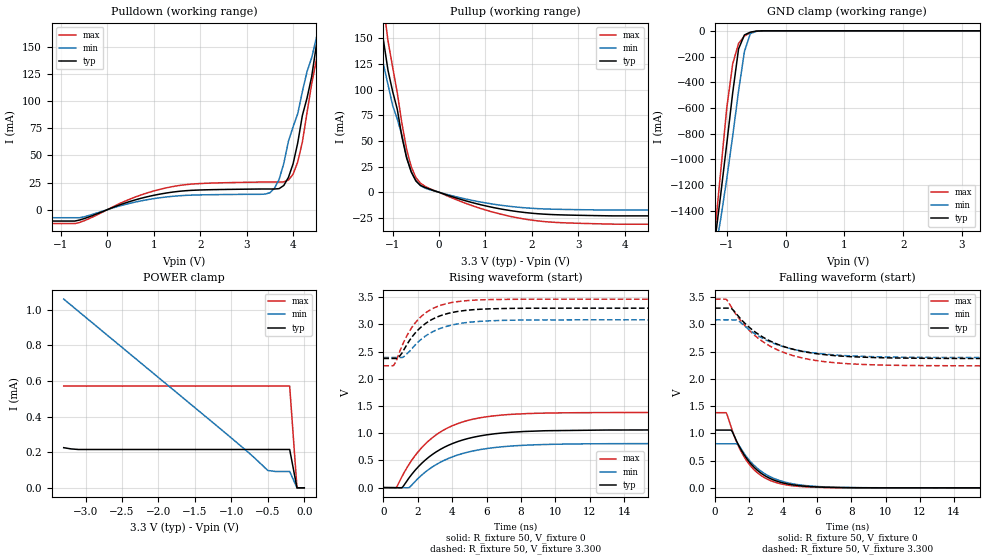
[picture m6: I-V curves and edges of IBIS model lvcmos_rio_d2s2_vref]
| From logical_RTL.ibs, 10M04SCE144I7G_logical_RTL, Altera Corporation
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|MODEL lvcmos_rio_d2s2_vref
[Model]   lvcmos_rio_d2s2_vref
Model_type   I/O
Polarity   Non-Inverting
Enable Active-Low
Vinl   = 0.800
Vinh   = 1.700
Vmeas  = 1.650
Rref   = 10M
Cref   = 0pF
Vref   = 0.000
C_comp 4.5pF   4.5pF   4.5pF
[Model Spec]
Vinh   1.700   1.700   1.700
Vinl   0.800   0.800   0.800
[Temperature Range]   25   100   -40
[Voltage Range]   3.300   3.085   3.465
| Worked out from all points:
|   slope of the pulldown table from 0 to 0.495 V, typ, clamps not added: 64.6 ohm
|   slope of the pullup table from 0 to 0.495 V, typ, clamps not added: 68.1 ohm
|   GND clamp passes 1 mA (typ) near -0.44 V on its own axis
|   rising waveform, R_fixture 50, V_fixture 0: 20-80 % time 2.77ns typ, 2.86ns min, 2.58ns max; typ from 0 V to 1.06 V
|   falling waveform, R_fixture 50, V_fixture 0: 20-80 % time 1.7ns typ, 1.87ns min, 1.54ns max; typ from 1.06 V to 0 V
|   rising waveform, R_fixture 50, V_fixture 3.300: 20-80 % time 1.73ns typ, 1.9ns min, 1.56ns max; typ from 2.37 V to 3.3 V
|   falling waveform, R_fixture 50, V_fixture 3.300: 20-80 % time 2.94ns typ, 2.97ns min, 2.88ns max; typ from 3.3 V to 2.37 V
[GND Clamp]
| voltage   I (typ)   I (min)   I (max)
-3.3V     -8.634A    -7.641A    -10.53A
-1.2V     -1.626A    -1.726A    -1.552A
-1.1V     -1.26A     -1.452A    -1.075A
-1V       -875.9mA   -1.149A    -598.7mA
-900mV    -483.9mA   -819.2mA   -258.1mA
-800mV    -141.1mA   -469.2mA   -98.68mA
-700mV    -32.06mA   -161mA     -39.97mA
-600mV    -10.6mA    -22.19mA   -15.19mA
-500mV    -2.181mA   -3.852mA   -3.947mA
3.3V      0A         0A         0A
[Pulldown]
| voltage   I (typ)   I (min)   I (max)
-3.3V     -10.53mA   -7.475mA   -12.85mA
-700mV    -10.53mA   -7.475mA   -12.85mA
1.3V      15.54mA    11.84mA    20.38mA
3.5V      19.04mA    15.58mA    25.5mA
3.7V      19.39mA    28mA       25.5mA
3.8V      22.3mA     42.68mA    25.63mA
4V        42.23mA    76.44mA    32.71mA
4.1V      61.55mA    88.51mA    43.96mA
4.4V      122.6mA    140.1mA    115.8mA
4.5V      151.2mA    158.2mA    137.8mA
4.6V      165.2mA    178mA      166.6mA
6.5V      562.6mA    501.8mA    653.7mA
[Power Clamp]
| voltage   I (typ)   I (min)   I (max)
-3.3V     225.6uA    1.06mA     571.7uA
-3.1V     215.6uA    992.4uA    571.7uA
-1V       215.6uA    280uA      571.7uA
-700mV    215.6uA    174.9uA    571.7uA
-500mV    215.6uA    97.73uA    571.7uA
-400mV    215.6uA    92.15uA    571.7uA
-200mV    215.6uA    92.15uA    571.7uA
-100mV    0A         0A         0A
0V        0A         0A         0A
[Pullup]
| voltage   I (typ)   I (min)   I (max)
-3.3V     601.3mA    507.8mA    751.8mA
-1.4V     184.1mA    157.6mA    227.3mA
-1.3V     164.2mA    139.4mA    211.5mA
-1.2V     148.4mA    124.8mA    182.2mA
-1.1V     118.6mA    104.7mA    147.3mA
-900mV    80.7mA     71.25mA    96.68mA
-700mV    33.51mA    34.71mA    42.04mA
-500mV    11.1mA     11.35mA    14.34mA
-300mV    4.685mA    4.022mA    5.769mA
1V        -13.19mA   -10.3mA    -17.19mA
2.1V      -20.77mA   -15.84mA   -27.69mA
6.5V      -22.95mA   -17.19mA   -31.08mA
[Ramp]
dV/dt_r   6.364e-01/2.772e-09 4.860e-01/2.862e-09 8.284e-01/2.577e-09
dV/dt_f   5.555e-01/2.938e-09 4.161e-01/2.967e-09 7.351e-01/2.880e-09
R_load = 50ohms
[Rising Waveform]
R_fixture   = 50
V_fixture   = 0
V_fixture_min = 0
V_fixture_max = 0
| time   V (typ)   V (min)   V (max)
0s        227.2nV    4.811uV    63.23nV
750.1ps   3.877uV    6.143uV    1.964mV
1.102ns   4.875mV    -602.2uV   215.3mV
1.5ns     181.8mV    2.856mV    431.9mV
2.227ns   446mV      230.2mV    733.4mV
3.024ns   647.3mV    415mV      960mV
4.149ns   826.4mV    581.2mV    1.156V
5.555ns   946.7mV    694.9mV    1.28V
9.939ns   1.049V     796.8mV    1.373V
23.42ns   1.061V     810mV      1.381V
[Falling Waveform]
R_fixture   = 50
V_fixture   = 0
V_fixture_min = 0
V_fixture_max = 0
| time   V (typ)   V (min)   V (max)
0s        1.061V     810mV      1.381V
677.6ps   1.061V     810mV      1.365V
981.4ps   1.046V     810mV      1.077V
1.332ns   814.7mV    801.1mV    796.8mV
1.776ns   573.6mV    601.6mV    535.6mV
2.266ns   384.9mV    420.5mV    340.3mV
3.061ns   198.5mV    232.4mV    160.1mV
4.066ns   84.65mV    108.3mV    60.69mV
7.571ns   4.256mV    7.391mV    2.04mV
23.34ns   201.2nV    4.856uV    77.86nV
[Rising Waveform]
R_fixture   = 50
V_fixture   = 3.300
V_fixture_min   = 3.085
V_fixture_max   = 3.465
| time   V (typ)   V (min)   V (max)
0s        2.374V     2.391V     2.24V
609.5ps   2.374V     2.391V     2.253V
867.3ps   2.386V     2.391V     2.43V
1.149ns   2.508V     2.397V     2.651V
1.43ns    2.662V     2.476V     2.829V
2.203ns   2.955V     2.728V     3.147V
3.024ns   3.122V     2.89V      3.314V
4.055ns   3.223V     2.994V     3.407V
7.712ns   3.296V     3.079V     3.463V
23.42ns   3.3V       3.085V     3.465V
[Falling Waveform]
R_fixture   = 50
V_fixture   = 3.300
V_fixture_min   = 3.085
V_fixture_max   = 3.465
| time   V (typ)   V (min)   V (max)
0s        3.3V       3.085V     3.465V
677.6ps   3.3V       3.085V     3.456V
981.4ps   3.289V     3.085V     3.305V
1.332ns   3.161V     3.075V     3.141V
1.776ns   3.013V     2.959V     2.968V
2.991ns   2.734V     2.713V     2.646V
4.229ns   2.575V     2.572V     2.463V
5.701ns   2.474V     2.482V     2.349V
10.14ns   2.386V     2.403V     2.252V
23.34ns   2.374V     2.391V     2.24V
